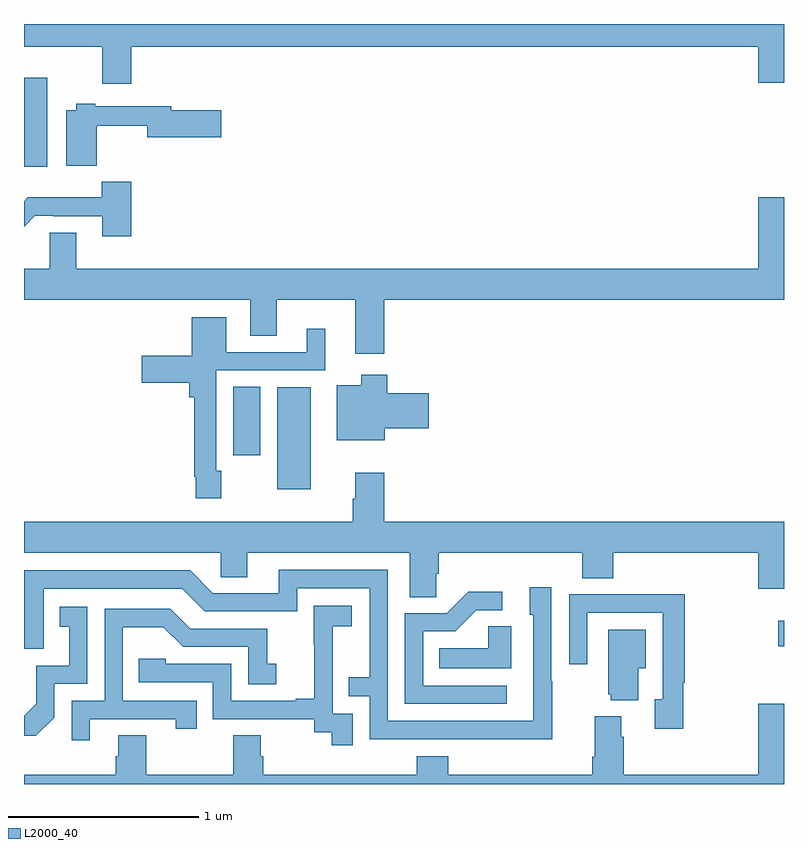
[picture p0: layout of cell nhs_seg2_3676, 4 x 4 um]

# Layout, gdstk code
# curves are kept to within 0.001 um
import gdstk
lib = gdstk.Library(unit=1e-6, precision=1e-09)
def R(c, l, rs):  # rectangles x0, y0, x1, y1
    for r in rs: c.add(gdstk.rectangle(r[:2], r[2:], *l))
def P(c, l, *ps):  # polygons
    for p in ps: c.add(gdstk.Polygon(p, *l))
L2000_40 = (2000, 40)

nhs_seg2_3676 = lib.new_cell('nhs_seg2_3676')
R(nhs_seg2_3676, L2000_40, [(308.97,600.524,309,600.658), (306.332,601.352,306.508,601.888), (306.101,601.53,306.244,601.892), (305,603.048,305.122,603.517)])
P(nhs_seg2_3676, L2000_40, [(305.564,603.68),(308.864,603.68),(308.864,603.492),(309,603.492),(309,603.8),(305,603.8),(305,603.68),(305.411,603.68),(305.411,603.486),(305.564,603.486)],
  [(305.384,603.265),(305.648,603.265),(305.648,603.203),(306.037,603.203),(306.037,603.345),(305.776,603.345),(305.776,603.366),(305.374,603.366),(305.374,603.379),(305.274,603.379),(305.274,603.346),(305.222,603.346),(305.222,603.053),(305.384,603.053)],
  [(305.564,602.971),(305.409,602.971),(305.409,602.887),(305.02,602.887),(305,602.867),(305,602.734),(305.056,602.79),(305.155,602.79),(305.155,602.787),(305.411,602.787),(305.411,602.682),(305.564,602.682)],
  [(306.896,602.348),(309,602.348),(309,602.887),(308.864,602.887),(308.864,602.512),(305.275,602.512),(305.275,602.702),(305.135,602.702),(305.135,602.512),(305,602.512),(305,602.348),(306.191,602.348),(306.191,602.158),(306.331,602.158),(306.331,602.348),(306.743,602.348),(306.743,602.064),(306.896,602.064)],
  [(306.039,601.449),(306.012,601.449),(306.012,601.977),(306.586,601.977),(306.586,602.197),(306.488,602.197),(306.488,602.073),(306.064,602.073),(306.064,602.257),(305.882,602.257),(305.882,602.055),(305.619,602.055),(305.619,601.913),(305.87,601.913),(305.87,601.835),(305.896,601.835),(305.896,601.417),(305.904,601.417),(305.904,601.305),(306.039,601.305)],
  [(306.898,601.673),(307.129,601.673),(307.129,601.856),(306.911,601.856),(306.911,601.954),(306.776,601.954),(306.776,601.9),(306.647,601.9),(306.647,601.61),(306.898,601.61)],
  [(307.17,600.907),(307.184,600.907),(307.184,601.016),(307.937,601.016),(307.937,600.883),(308.102,600.883),(308.102,601.016),(308.864,601.016),(308.864,600.828),(309,600.828),(309,601.18),(306.896,601.18),(306.896,601.438),(306.743,601.438),(306.743,601.301),(306.731,601.301),(306.731,601.18),(305,601.18),(305,601.016),(306.036,601.016),(306.036,600.889),(306.175,600.889),(306.175,601.016),(307.031,601.016),(307.031,600.784),(307.17,600.784)],
  [(307.779,600.341),(307.776,600.341),(307.776,600.835),(307.661,600.835),(307.661,600.69),(307.68,600.69),(307.68,600.132),(306.915,600.132),(306.915,600.927),(306.341,600.927),(306.341,600.804),(305.994,600.804),(305.874,600.924),(305,600.924),(305,600.513),(305.103,600.513),(305.103,600.828),(305.832,600.828),(305.952,600.708),(306.438,600.708),(306.438,600.831),(306.819,600.831),(306.819,600.362),(306.709,600.362),(306.709,600.261),(306.819,600.261),(306.819,600.036),(307.779,600.035)],
  [(307.54,600.318),(307.101,600.318),(307.101,600.603),(307.27,600.603),(307.381,600.714),(307.516,600.714),(307.516,600.812),(307.337,600.812),(307.224,600.699),(307.005,600.699),(307.005,600.222),(307.54,600.222)],
  [(308.47,600.334),(308.477,600.334),(308.477,600.8),(308.185,600.8),(308.185,600.798),(307.869,600.798),(307.869,600.429),(307.965,600.429),(307.965,600.702),(308.361,600.702),(308.361,600.246),(308.321,600.246),(308.321,600.09),(308.47,600.09)],
  [(306.729,600.171),(306.624,600.171),(306.624,600.401),(306.626,600.401),(306.626,600.629),(306.724,600.629),(306.724,600.739),(306.526,600.739),(306.526,600.533),(306.527,600.533),(306.527,600.25),(306.431,600.25),(306.431,600.237),(306.09,600.237),(306.09,600.432),(305.745,600.432),(305.745,600.459),(305.605,600.459),(305.605,600.336),(305.994,600.336),(305.994,600.141),(306.528,600.141),(306.528,600.073),(306.621,600.073),(306.621,600.003),(306.729,600.003)],
  [(305.16,600.15),(305.16,600.327),(305.334,600.327),(305.334,600.733),(305.188,600.733),(305.188,600.627),(305.237,600.627),(305.237,600.423),(305.064,600.423),(305.064,600.222),(305,600.158),(305,600.053),(305.062,600.053)],
  [(305.347,600.141),(305.798,600.141),(305.798,600.09),(305.909,600.09),(305.909,600.237),(305.52,600.237),(305.52,600.626),(305.734,600.626),(305.838,600.522),(306.18,600.522),(306.18,600.324),(306.328,600.324),(306.328,600.433),(306.279,600.433),(306.279,600.618),(305.875,600.618),(305.77,600.723),(305.424,600.723),(305.424,600.237),(305.25,600.237),(305.25,600.03),(305.347,600.03)],
  [(307.564,600.629),(307.443,600.629),(307.443,600.514),(307.186,600.514),(307.186,600.41),(307.564,600.41)],
  [(308.233,600.41),(308.272,600.41),(308.272,600.613),(308.075,600.613),(308.075,600.273),(308.087,600.273),(308.087,600.242),(308.233,600.242)],
  [(309,600.223),(308.864,600.223),(308.864,599.848),(308.156,599.848),(308.156,600.05),(308.143,600.05),(308.143,600.157),(308.003,600.157),(308.003,599.944),(307.991,599.944),(307.991,599.848),(307.232,599.848),(307.232,599.947),(307.067,599.947),(307.067,599.848),(306.26,599.848),(306.26,599.946),(306.247,599.946),(306.247,600.056),(306.1,600.056),(306.1,599.848),(305.643,599.848),(305.643,600.056),(305.495,600.056),(305.495,599.946),(305.483,599.946),(305.483,599.848),(305,599.848),(305,599.8),(309,599.8)])

lib.write_gds('nhs_seg2_3676.gds')
